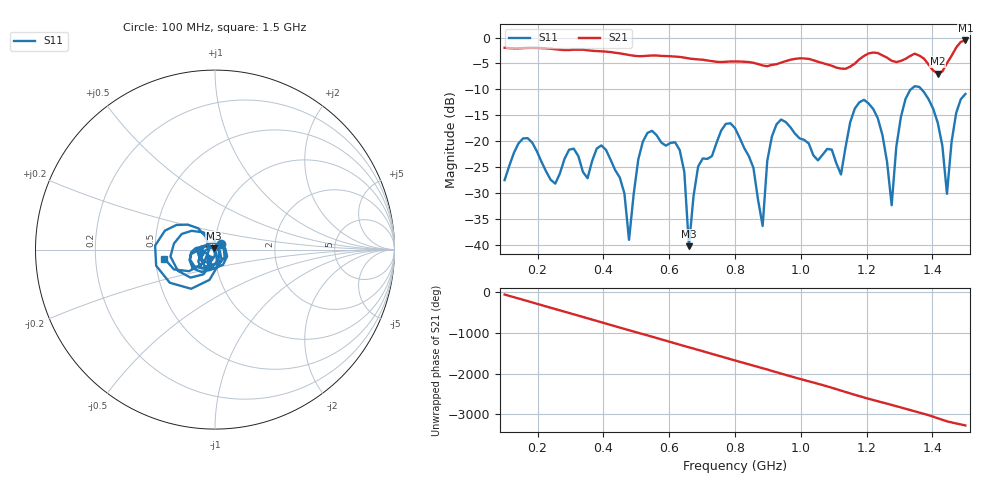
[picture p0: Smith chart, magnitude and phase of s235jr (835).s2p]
! NanoVNA-App
! Date: 2025-09-25 15:10:40
! Start: 100MHz Stop: 1,5GHz Points: 101
! S-Parameter data: F S11 S21 S12 S22
# Hz S RI R 50
!  Frequency  S11_Real  S11_Imag  S21_Real  S21_Imag  S12_Real  S12_Imag  S22_Real  S22_Imag
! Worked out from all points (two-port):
!   101 points, 100 MHz to 1.5 GHz, reference 50 ohm
!   highest |S21| = -0.56 dB at 1.5 GHz (marker M1); lowest = -6.9 dB at 1.416 GHz (marker M2)
!   |S21| within 3 dB of the highest: start of sweep to 502.2 MHz; 1.192 GHz to 1.252 GHz (60.56 MHz wide, 4.96 % of centre) (the widest 2 of 5)
!   lowest |S11| = -40.2 dB at 660 MHz (marker M3), VSWR 1.02, Z = 49.3 + j0.631 ohm
!   |S11| at or under -10 dB: start of sweep to 1.334 GHz; 1.367 GHz to end of sweep
!   S12 and S22 are empty: the file has one direction only
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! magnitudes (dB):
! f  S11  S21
! 100 MHz  -27.5  -2.0
! 156 MHz  -19.4  -2.0
! 338 MHz  -25.9  -2.4
! 408 MHz  -21.6  -2.7
! 478 MHz  -39.0  -3.4
! 520 MHz  -20.1  -3.6
! 576 MHz  -20.2  -3.5
! 632 MHz  -21.7  -3.7
! 660 MHz  -40.2  -4.0
! 688 MHz  -24.8  -4.2
! 800 MHz  -17.4  -4.6
! 884 MHz  -36.3  -5.4
! 926 MHz  -16.7  -5.2
! 1.038 GHz  -22.7  -4.4
! 1.122 GHz  -26.4  -6.0
! 1.192 GHz  -12.0  -3.5
! 1.248 GHz  -18.8  -3.4
! 1.276 GHz  -32.3  -4.5
! 1.332 GHz  -10.1  -3.6
! 1.416 GHz  -16.4  -6.9
! 1.444 GHz  -30.1  -4.9
! 1.5 GHz  -10.9  -0.6
